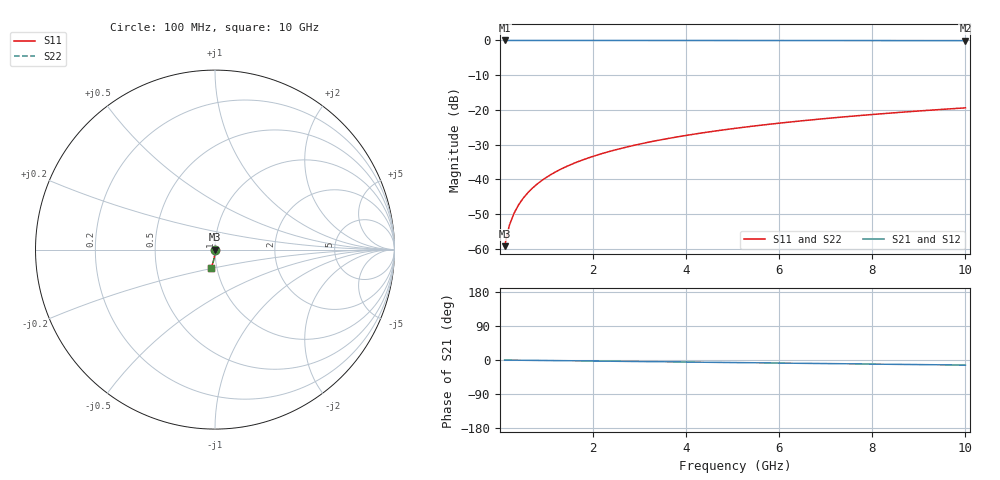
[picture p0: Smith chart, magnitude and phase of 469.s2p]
# Hz S RI R 50.00
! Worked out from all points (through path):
!   100 points, 100 MHz to 10 GHz, reference 50 ohm
!   highest |S21| = 0.00 dB at 100 MHz (marker M1); lowest = -0.1 dB at 10 GHz (marker M2)
!   group delay of S21, straight-line fit = 3.75 ps
!   lowest |S11| = -59.3 dB at 100 MHz (marker M3), VSWR 1.00, Z = 50 - j0.107 ohm
!   |S11| at or under -10 dB: start of sweep to end of sweep
!   |S22| runs from -59.3 to -19.4 dB; largest |S21 - S12| = 0
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1e8  0.000198 -0.00107  0.9998 -0.00233  0.9998 -0.00233  0.000198 -0.00107
2e8  0.000191 -0.00213  0.9998 -0.00465  0.9998 -0.00465  0.000191 -0.00213
3e8  0.000178 -0.0032  0.9998 -0.00698  0.9998 -0.00698  0.000178 -0.0032
4e8  0.000159 -0.00426  0.9997 -0.00931  0.9997 -0.00931  0.000159 -0.00426
5e8  0.000136 -0.00533  0.9997 -0.0116  0.9997 -0.0116  0.000136 -0.00533
6e8  0.000108 -0.0064  0.9997 -0.014  0.9997 -0.014  0.000108 -0.0064
7e8  7.46e-05 -0.00746  0.9996 -0.0163  0.9996 -0.0163  7.46e-05 -0.00746
8e8  3.62e-05 -0.00853  0.9996 -0.0186  0.9996 -0.0186  3.62e-05 -0.00853
9e8  -7.11e-06 -0.0096  0.9995 -0.0209  0.9995 -0.0209  -7.11e-06 -0.0096
1.1e9  -0.000109 -0.0117  0.9994 -0.0256  0.9994 -0.0256  -0.000109 -0.0117
1.4e9  -0.000299 -0.0149  0.9991 -0.0326  0.9991 -0.0326  -0.000299 -0.0149
1.8e9  -0.000623 -0.0192  0.9987 -0.0419  0.9987 -0.0419  -0.000623 -0.0192
2.1e9  -0.000918 -0.0224  0.9983 -0.0489  0.9983 -0.0489  -0.000918 -0.0224
2.5e9  -0.00138 -0.0267  0.9977 -0.0582  0.9977 -0.0582  -0.00138 -0.0267
2.9e9  -0.00193 -0.0309  0.997 -0.0676  0.997 -0.0676  -0.00193 -0.0309
3.4e9  -0.00272 -0.0363  0.9959 -0.0792  0.9959 -0.0792  -0.00272 -0.0363
4.2e9  -0.00425 -0.0447  0.9939 -0.0979  0.9939 -0.0979  -0.00425 -0.0447
5.1e9  -0.00636 -0.0542  0.9911 -0.1188  0.9911 -0.1188  -0.00636 -0.0542
5.9e9  -0.00858 -0.0626  0.9882 -0.1374  0.9882 -0.1374  -0.00858 -0.0626
6.7e9  -0.0111 -0.0709  0.9848 -0.156  0.9848 -0.156  -0.0111 -0.0709
8.4e9  -0.0175 -0.0882  0.9763 -0.1952  0.9763 -0.1952  -0.0175 -0.0882
1e10  -0.0248 -0.1039  0.9665 -0.2317  0.9665 -0.2317  -0.0248 -0.1039
